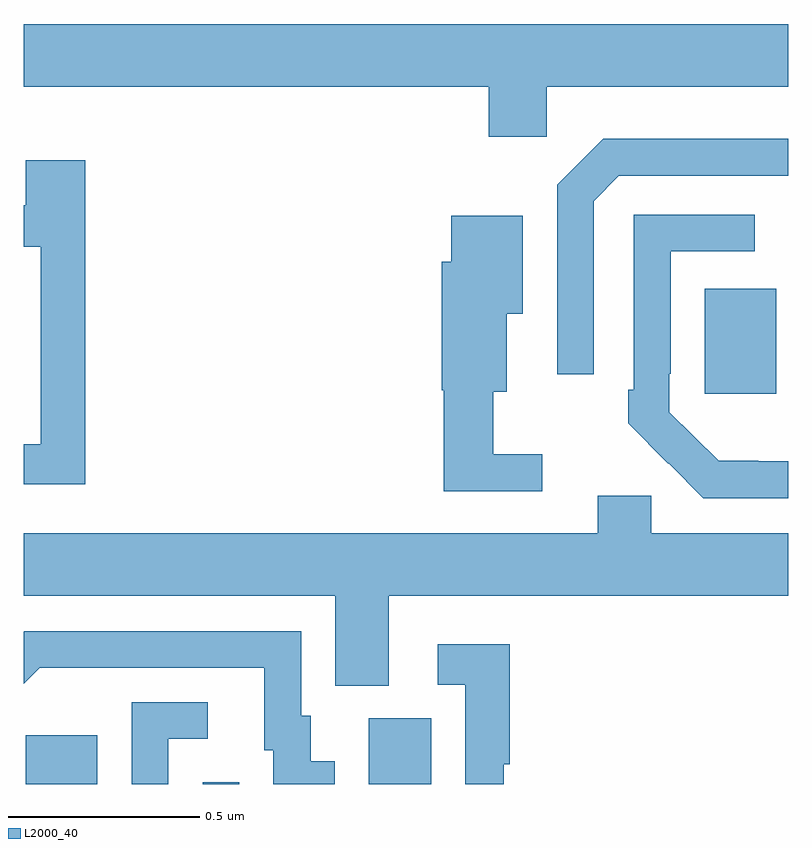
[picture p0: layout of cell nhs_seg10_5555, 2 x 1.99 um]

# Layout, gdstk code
import gdstk
lib = gdstk.Library(unit=1e-6, precision=1e-09)
def R(c, l, rs):  # rectangles x0, y0, x1, y1
    for r in rs: c.add(gdstk.rectangle(r[:2], r[2:], *l))
def P(c, l, *ps):  # polygons
    for p in ps: c.add(gdstk.Polygon(p, *l))
L2000_40 = (2000, 40)

nhs_seg10_5555 = lib.new_cell('nhs_seg10_5555')
R(nhs_seg10_5555, L2000_40, [(180.005,1290.5,180.193,1290.628), (180.468,1290.5,180.564,1290.505), (180.902,1290.5,181.066,1290.672), (181.781,1291.521,181.969,1291.795)])
P(nhs_seg10_5555, L2000_40, [(181.368,1292.324),(182,1292.324),(182,1292.488),(180,1292.488),(180,1292.324),(181.217,1292.324),(181.217,1292.193),(181.368,1292.193)],
  [(181.491,1292.025),(181.557,1292.091),(182,1292.091),(182,1292.188),(181.516,1292.188),(181.395,1292.067),(181.395,1291.572),(181.491,1291.572)],
  [(180.161,1292.131),(180.005,1292.131),(180.005,1292.014),(180,1292.014),(180,1291.905),(180.045,1291.905),(180.045,1291.389),(180,1291.389),(180,1291.284),(180.161,1291.284)],
  [(182,1291.344),(181.921,1291.344),(181.921,1291.345),(181.818,1291.345),(181.689,1291.473),(181.689,1291.573),(181.692,1291.573),(181.692,1291.893),(181.912,1291.893),(181.912,1291.989),(181.596,1291.989),(181.596,1291.531),(181.581,1291.531),(181.581,1291.443),(181.686,1291.338),(181.687,1291.339),(181.778,1291.248),(182,1291.248)],
  [(181.357,1291.363),(181.228,1291.363),(181.228,1291.526),(181.264,1291.526),(181.264,1291.73),(181.306,1291.73),(181.306,1291.987),(181.118,1291.987),(181.118,1291.866),(181.094,1291.866),(181.094,1291.53),(181.099,1291.53),(181.099,1291.266),(181.357,1291.266)],
  [(180.955,1290.992),(182,1290.992),(182,1291.156),(181.641,1291.156),(181.641,1291.254),(181.502,1291.254),(181.502,1291.156),(180,1291.156),(180,1290.992),(180.815,1290.992),(180.815,1290.757),(180.955,1290.757)],
  [(180.814,1290.559),(180.751,1290.559),(180.751,1290.678),(180.726,1290.678),(180.726,1290.9),(180.002,1290.9),(180,1290.898),(180,1290.762),(180.042,1290.804),(180.629,1290.804),(180.629,1290.588),(180.653,1290.588),(180.653,1290.5),(180.814,1290.5)],
  [(181.256,1290.552),(181.271,1290.552),(181.271,1290.865),(181.083,1290.865),(181.083,1290.759),(181.155,1290.759),(181.155,1290.5),(181.256,1290.5)],
  [(180.378,1290.618),(180.481,1290.618),(180.481,1290.714),(180.282,1290.714),(180.282,1290.5),(180.378,1290.5)])

lib.write_gds('nhs_seg10_5555.gds')
